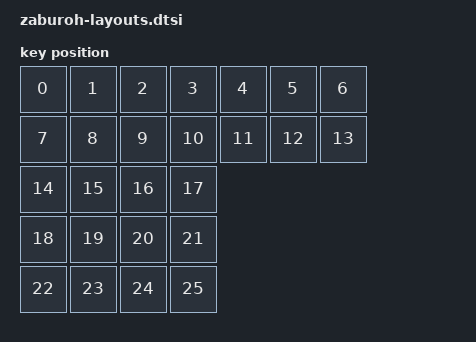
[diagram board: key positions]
#include <physical_layouts.dtsi>

/ {
    default_layout: default_layout {
        compatible = "zmk,physical-layout";
        display-name = "Default Layout";
        transform = <&default_transform>;
        kscan = <&kscan>;

        // Edit this to define the positions and sizes of the keys, or remove it
        // if your keyboard will not support ZMK Studio.
        // https://zmk.dev/docs/development/hardware-integration/physical-layouts#optional-keys-property
        // You can use the physical layout converter tool to help generate this:
        // https://zmk-physical-layout-converter.streamlit.app/
        keys  //                     w   h    x    y     rot    rx    ry
            = <&key_physical_attrs 100 100    0    0       0     0     0>
            , <&key_physical_attrs 100 100  100    0       0     0     0>
            , <&key_physical_attrs 100 100  200    0       0     0     0>
            , <&key_physical_attrs 100 100  300    0       0     0     0>
            , <&key_physical_attrs 100 100  400    0       0     0     0>
            , <&key_physical_attrs 100 100  500    0       0     0     0>
            , <&key_physical_attrs 100 100  600    0       0     0     0>
            , <&key_physical_attrs 100 100    0  100       0     0     0>
            , <&key_physical_attrs 100 100  100  100       0     0     0>
            , <&key_physical_attrs 100 100  200  100       0     0     0>
            , <&key_physical_attrs 100 100  300  100       0     0     0>
            , <&key_physical_attrs 100 100  400  100       0     0     0>
            , <&key_physical_attrs 100 100  500  100       0     0     0>
            , <&key_physical_attrs 100 100  600  100       0     0     0>
            , <&key_physical_attrs 100 100    0  200       0     0     0>
            , <&key_physical_attrs 100 100  100  200       0     0     0>
            , <&key_physical_attrs 100 100  200  200       0     0     0>
            , <&key_physical_attrs 100 100  300  200       0     0     0>
            , <&key_physical_attrs 100 100    0  300       0     0     0>
            , <&key_physical_attrs 100 100  100  300       0     0     0>
            , <&key_physical_attrs 100 100  200  300       0     0     0>
            , <&key_physical_attrs 100 100  300  300       0     0     0>
            , <&key_physical_attrs 100 100    0  400       0     0     0>
            , <&key_physical_attrs 100 100  100  400       0     0     0>
            , <&key_physical_attrs 100 100  200  400       0     0     0>
            , <&key_physical_attrs 100 100  300  400       0     0     0>
            ;
    };
};
